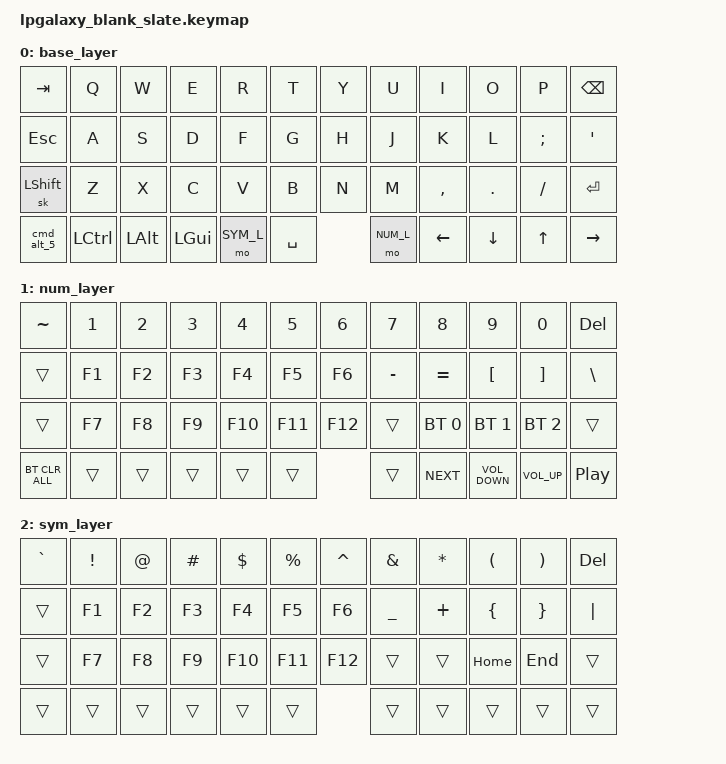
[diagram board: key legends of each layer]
/*
 * Copyright (c) 2022 Pete Johanson
 *
 * SPDX-License-Identifier: MIT
 */

#include <behaviors.dtsi>
#include <dt-bindings/zmk/keys.h>
#include <dt-bindings/zmk/bt.h>
#include <dt-bindings/zmk/outputs.h>

#define NUM_L 1
#define SYM_L 2

// Using layer taps on thumbs, having quick tap as well helps w/ repeating space/backspace
&lt { quick_tap_ms = <200>; };

/ {
    chosen {
       zmk,physical-layout = &layout_ortho_4x12_1x2u;
    };

    macros {
      ZMK_MACRO(thumbs_up,
        wait-ms = <1>;
        tap-ms = <5>;
        bindings = <&kp PLUS &kp COLON &kp PLUS &kp N1 &kp COLON &kp RET>;
        )
      ZMK_MACRO(cmd_alt_5,
        wait-ms = <1>;
        tap-ms = <5>;
        bindings = <&kp LGUI &kp LALT &kp N5>;
        )
    };

    tap_dances {
        shifty: shift_caps_word {
            compatible = "zmk,behavior-tap-dance";
            #binding-cells = <0>;
            tapping-term-ms = <150>;
            bindings = <&kp LSHFT>, <&caps_word>;
        };
    };

    keymap {
        compatible = "zmk,keymap";

        base_layer {
            bindings = <
&kp TAB    &kp Q      &kp W      &kp E       &kp R          &kp T          &kp Y     &kp U          &kp I       &kp O      &kp P         &kp BKSP
&kp ESC    &kp A      &kp S      &kp D       &kp F          &kp G          &kp H     &kp J          &kp K       &kp L      &kp SEMI      &kp QUOT
&sk LSHIFT &kp Z      &kp X      &kp C       &kp V          &kp B          &kp N     &kp M          &kp COMMA   &kp DOT    &kp FSLH      &kp RET
&cmd_alt_5 &kp LCTRL  &kp LALT   &kp LGUI    &mo SYM_L          &kp SPACE            &mo NUM_L      &kp LEFT    &kp DOWN   &kp UP        &kp RIGHT
            >;
        };

        num_layer {
            bindings = <
&kp TILDE      &kp N1  &kp N2  &kp N3  &kp N4   &kp N5    &kp N6   &kp N7    &kp N8       &kp N9            &kp N0            &kp DEL
&trans         &kp F1  &kp F2  &kp F3  &kp F4   &kp F5    &kp F6   &kp MINUS &kp EQUAL    &kp LEFT_BRACKET  &kp RIGHT_BRACKET &kp BACKSLASH
&trans         &kp F7  &kp F8  &kp F9  &kp F10  &kp F11   &kp F12  &trans    &bt BT_SEL 0 &bt BT_SEL 1      &bt BT_SEL 2      &trans
&bt BT_CLR_ALL &trans  &trans  &trans  &trans        &trans        &trans    &kp C_NEXT   &kp C_VOLUME_DOWN &kp C_VOLUME_UP   &kp C_PLAY_PAUSE
            >;
        };

        sym_layer {
            bindings = <
&kp GRAVE  &kp EXCLAMATION &kp AT_SIGN &kp HASH  &kp DOLLAR &kp PERCENT &kp CARET &kp AMPERSAND  &kp ASTERISK &kp LEFT_PARENTHESIS &kp RIGHT_PARENTHESIS &kp DEL
&trans     &kp F1          &kp F2      &kp F3    &kp F4     &kp F5      &kp F6    &kp UNDERSCORE &kp PLUS     &kp LEFT_BRACE       &kp RIGHT_BRACE       &kp PIPE
&trans     &kp F7          &kp F8      &kp F9    &kp F10    &kp F11     &kp F12   &trans         &trans       &kp HOME             &kp END               &trans
&trans     &trans          &trans      &trans    &trans            &trans         &trans         &trans       &trans               &trans                &trans
            >;
        };
    };
};
